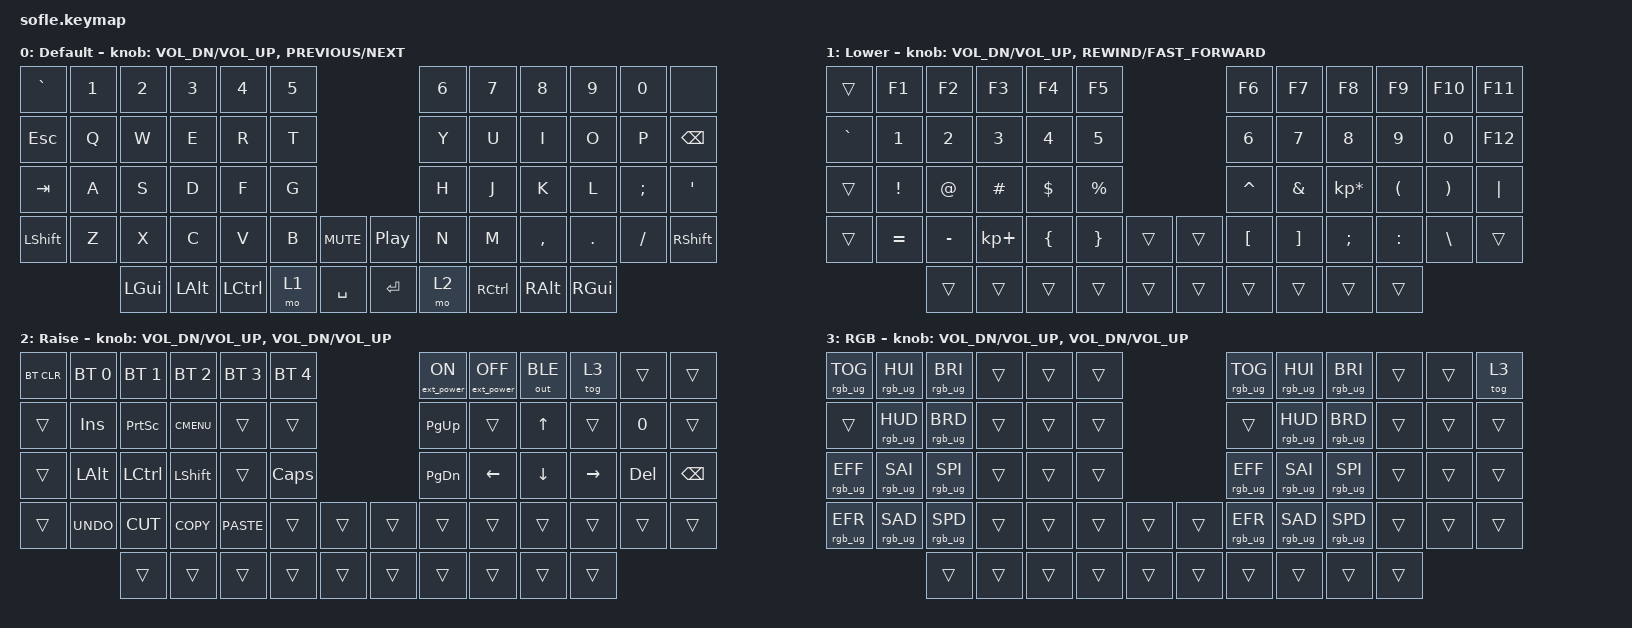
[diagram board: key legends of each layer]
/*
 * Copyright (c) 2020 The ZMK Contributors
 *
 * SPDX-License-Identifier: MIT
 */

#include <behaviors.dtsi>
#include <dt-bindings/zmk/keys.h>
#include <dt-bindings/zmk/bt.h>
#include <dt-bindings/zmk/ext_power.h>
#include <dt-bindings/zmk/outputs.h>
#include <dt-bindings/zmk/rgb.h>

#define DEFAULT 0
#define LOWER   1
#define RAISE   2
#define RGB     3

/ {
    keymap {
        compatible = "zmk,keymap";

        default_layer {
// ------------------------------------------------------------------------------------------------------------
// |  `    |  1  |  2  |  3   |  4   |  5   |                   |  6   |  7    |  8    |  9   |   0   |       |
// |  ESC  |  Q  |  W  |  E   |  R   |  T   |                   |  Y   |  U    |  I    |  O   |   P   | BKSPC |
// |  TAB  |  A  |  S  |  D   |  F   |  G   |                   |  H   |  J    |  K    |  L   |   ;   |   '   |
// | SHIFT |  Z  |  X  |  C   |  V   |  B   |  MUTE  |  |       |  N   |  M    |  ,    |  .   |   /   | SHIFT |
//               | GUI | ALT  | CTRL | LOWER|  SPACE |  | ENTER | RAISE| CTRL  | ALT   | GUI  |
            bindings = <
&kp GRAVE &kp N1 &kp N2   &kp N3   &kp N4    &kp N5                               &kp N6 &kp N7    &kp N8    &kp N9    &kp N0   &none
&kp ESC   &kp Q  &kp W    &kp E    &kp R     &kp T                                &kp Y  &kp U     &kp I     &kp O     &kp P    &kp BSPC
&kp TAB   &kp A  &kp S    &kp D    &kp F     &kp G                                &kp H  &kp J     &kp K     &kp L     &kp SEMI &kp SQT
&kp LSHFT &kp Z  &kp X    &kp C    &kp V     &kp B   &kp C_MUTE &kp C_PLAY_PAUSE  &kp N  &kp M     &kp COMMA &kp DOT   &kp FSLH &kp RSHFT
                 &kp LGUI &kp LALT &kp LCTRL &mo 1   &kp SPACE  &kp RET           &mo 2  &kp RCTRL &kp RALT  &kp RGUI
            >;
            
            sensor-bindings = <&inc_dec_kp C_VOL_DN C_VOL_UP &inc_dec_kp C_PREVIOUS C_NEXT>;
            label = "Default";
        };

        lower_layer {
// TODO: Some binds are waiting for shifted keycode support.
// ------------------------------------------------------------------------------------------------------------
// |       |  F1 |  F2 |  F3  |  F4  |  F5  |                   |  F6  |  F7   |  F8   |  F9  |  F10  |  F11  |
// | `     |   1 |   2 |   3  |   4  |   5  |                   |   6  |   7   |   8   |   9  |    0  |  F12  |
// |       |  !  |  @  |  #   |  $   |  %   |                   |  ^   |  &    |  *    |  (   |   )   |   |   |
// |       |  =  |  -  |  +   |  {   |  }   |        |  |       |  [   |  ]    |  ;    |  :   |   \   |       |
//               |     |      |      |      |        |  |       |      |       |       |      |
            bindings = <
&trans    &kp F1    &kp F2    &kp F3      &kp F4    &kp F5                    &kp F6    &kp F7   &kp F8          &kp F9    &kp F10   &kp F11
&kp GRAVE &kp N1    &kp N2    &kp N3      &kp N4    &kp N5                    &kp N6    &kp N7   &kp N8          &kp N9    &kp N0    &kp F12
&trans    &kp EXCL  &kp AT    &kp HASH    &kp DLLR  &kp PRCNT                 &kp CARET &kp AMPS &kp KP_MULTIPLY &kp LPAR  &kp RPAR  &kp PIPE
&trans    &kp EQUAL &kp MINUS &kp KP_PLUS &kp LBRC  &kp RBRC  &trans   &trans &kp LBKT  &kp RBKT &kp SEMI        &kp COLON &kp BSLH  &trans
                    &trans    &trans      &trans    &trans    &trans   &trans &trans    &trans   &trans          &trans
            >;
            
            sensor-bindings = <&inc_dec_kp C_VOL_DN C_VOL_UP &inc_dec_kp C_REWIND C_FAST_FORWARD>;
            label = "Lower";
        };

        raise_layer {
// ------------------------------------------------------------------------------------------------------------
// |BTCLR| BT1  | BT2  |  BT3  |  BT4  |  BT5 |                | EPON |EP_OFF|OUT_BLE|  RGB  |       |       |
// |     | INS  | PSCR | GUI   |       |      |                | PGUP |      |   ^   |       |       |       |
// |     | ALT  | CTRL | SHIFT |       | CAPS |                | PGDN |   <- |   v   | ->    |  DEL  | BKSPC |
// |     | UNDO | CUT  | COPY  | PASTE |      |      |  |      |      |      |       |       |       |       |
//              |      |       |       |      |      |  |      |      |      |       |       |
            bindings = <
&bt BT_CLR &bt BT_SEL 0 &bt BT_SEL 1 &bt BT_SEL 2 &bt BT_SEL 3 &bt BT_SEL 4             &ext_power EP_ON    &ext_power EP_OFF    &out OUT_BLE   &tog 3    &trans  &trans
&trans     &kp INS      &kp PSCRN    &kp K_CMENU  &trans       &trans                   &kp PG_UP &trans    &kp UP   &trans    &kp N0  &trans
&trans     &kp LALT     &kp LCTRL    &kp LSHFT    &trans       &kp CLCK                 &kp PG_DN &kp LEFT  &kp DOWN &kp RIGHT &kp DEL &kp BSPC
&trans     &kp K_UNDO   &kp K_CUT    &kp K_COPY   &kp K_PASTE  &trans  &trans   &trans  &trans    &trans    &trans   &trans    &trans  &trans
                        &trans       &trans       &trans       &trans  &trans   &trans  &trans    &trans    &trans   &trans
            >;

            sensor-bindings = <&inc_dec_kp C_VOL_DN C_VOL_UP &inc_dec_kp C_VOL_DN C_VOL_UP>;
            label = "Raise";
        };
        
        rgb_layer {
// ------------------------------------------------------------------------------------------------------------
// |RGB_TOG|RGB_HUI|RGB_BRI|       |       |      |                |      |      |       |      |       |  RGB  |
// |       |RGB_HUD|RGB_BRD|       |       |      |                |      |      |       |      |       |       |
// |RGB_EFF|RGB_SAI|RGB_SPI|       |       |      |                |      |      |       |      |       |       |
// |RGB_EFR|RGB_SAD|RGB_SPD|       |       |      |      |  |      |      |      |       |      |       |       |
//                 |       |       |       |      |      |  |      |      |      |       |      |
            bindings = <
&rgb_ug RGB_TOG    &rgb_ug RGB_HUI    &rgb_ug RGB_BRI   &trans    &trans  &trans                 &rgb_ug RGB_TOG    &rgb_ug RGB_HUI    &rgb_ug RGB_BRI   &trans    &trans  &tog 3
&trans             &rgb_ug RGB_HUD    &rgb_ug RGB_BRD   &trans    &trans  &trans                 &trans             &rgb_ug RGB_HUD    &rgb_ug RGB_BRD   &trans    &trans  &trans
&rgb_ug RGB_EFF    &rgb_ug RGB_SAI    &rgb_ug RGB_SPI   &trans    &trans  &trans                 &rgb_ug RGB_EFF    &rgb_ug RGB_SAI    &rgb_ug RGB_SPI   &trans    &trans  &trans
&rgb_ug RGB_EFR    &rgb_ug RGB_SAD    &rgb_ug RGB_SPD   &trans    &trans  &trans  &trans  &trans &rgb_ug RGB_EFR    &rgb_ug RGB_SAD    &rgb_ug RGB_SPD   &trans    &trans  &trans
                        &trans       &trans       &trans       &trans  &trans   &trans  &trans    &trans    &trans   &trans
            >;

            sensor-bindings = <&inc_dec_kp C_VOL_DN C_VOL_UP &inc_dec_kp C_VOL_DN C_VOL_UP>;
            label = "RGB";
        };
    };
};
